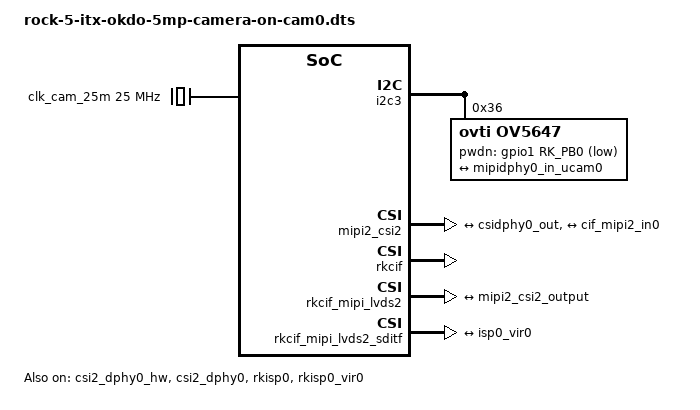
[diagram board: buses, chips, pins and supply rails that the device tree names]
/dts-v1/;
/plugin/;

#include <dt-bindings/gpio/gpio.h>
#include <dt-bindings/pinctrl/rockchip.h>

/ {
	metadata {
		title ="Enable OKDO 5MP Camera on CAM0";
		compatible = "radxa,rock-5-itx";
		category = "camera";
		exclusive = "csi2_dphy0";
		description = "Enable OKDO 5MP Camera on CAM0.";
	};

	fragment@0 {
		target-path = "/";

		__overlay__ {
			clk_cam_25m: external-camera-clock-25m {
				status = "okay";
				compatible = "fixed-clock";
				clock-frequency = <25000000>;
				clock-output-names = "clk_cam_25m";
				#clock-cells = <0>;
			};
		};
	};

	fragment@1 {
		target = <&i2c3>;

		__overlay__ {
			status = "okay";
			#address-cells = <1>;
			#size-cells = <0>;

			ov5647: ov5647@36 {
				status = "okay";
				compatible = "ovti,ov5647";
				reg = <0x36>;
				clocks = <&clk_cam_25m>;
				pwdn-gpios = <&gpio1 RK_PB0 GPIO_ACTIVE_LOW>;
				clock-names = "ext_cam_clk";
				rockchip,camera-module-index = <0>;
				rockchip,camera-module-facing = "back";
				rockchip,camera-module-name = "OKDO-5MP";
				rockchip,camera-module-lens-name = "default";

				port {
					ov5647_out0: endpoint {
						remote-endpoint = <&mipidphy0_in_ucam0>;
						data-lanes = <1 2>;
					};
				};
			};
		};
	};

	fragment@2 {
		target = <&csi2_dphy0_hw>;

		__overlay__ {
			status = "okay";
		};
	};

	fragment@3 {
		target = <&csi2_dphy0>;

		__overlay__ {
			status = "okay";

			ports {
				#address-cells = <1>;
				#size-cells = <0>;

				port@0 {
					reg = <0>;
					#address-cells = <1>;
					#size-cells = <0>;

					mipidphy0_in_ucam0: endpoint@1 {
						reg = <1>;
						remote-endpoint = <&ov5647_out0>;
						data-lanes = <1 2>;
					};
				};

				port@1 {
					reg = <1>;
					#address-cells = <1>;
					#size-cells = <0>;

					csidphy0_out: endpoint@0 {
						reg = <0>;
						remote-endpoint = <&mipi2_csi2_input>;
					};
				};
			};
		};
	};

	fragment@4 {
		target = <&mipi2_csi2>;

		__overlay__ {
			status = "okay";

			ports {
				#address-cells = <1>;
				#size-cells = <0>;

				port@0 {
					reg = <0>;
					#address-cells = <1>;
					#size-cells = <0>;

					mipi2_csi2_input: endpoint@1 {
						reg = <1>;
						remote-endpoint = <&csidphy0_out>;
					};
				};

				port@1 {
					reg = <1>;
					#address-cells = <1>;
					#size-cells = <0>;

					mipi2_csi2_output: endpoint@0 {
						reg = <0>;
						remote-endpoint = <&cif_mipi2_in0>;
					};
				};
			};
		};
	};

	fragment@5 {
		target = <&rkcif>;

		__overlay__ {
			status = "okay";
		};
	};

	fragment@6 {
		target = <&rkcif_mipi_lvds2>;

		__overlay__ {
			status = "okay";

			port {
				cif_mipi2_in0: endpoint {
					remote-endpoint = <&mipi2_csi2_output>;
				};
			};
		};
	};

	fragment@7 {
		target = <&rkcif_mipi_lvds2_sditf>;

		__overlay__ {
			status = "okay";

			port {
				mipi_lvds2_sditf: endpoint {
					remote-endpoint = <&isp0_vir0>;
				};
			};
		};
	};

	fragment@8 {
		target = <&rkcif_mmu>;

		__overlay__ {
			status = "okay";
		};
	};

	fragment@9 {
		target = <&isp0_mmu>;

		__overlay__ {
			status = "okay";
		};
	};

	fragment@10 {
		target = <&rkisp0>;

		__overlay__ {
			status = "okay";
		};
	};

	fragment@11 {
		target = <&rkisp0_vir0>;

		__overlay__ {
			status = "okay";

			port {
				#address-cells = <1>;
				#size-cells = <0>;

				isp0_vir0: endpoint@0 {
					reg = <0>;
					remote-endpoint = <&mipi_lvds2_sditf>;
				};
			};
		};
	};
};

